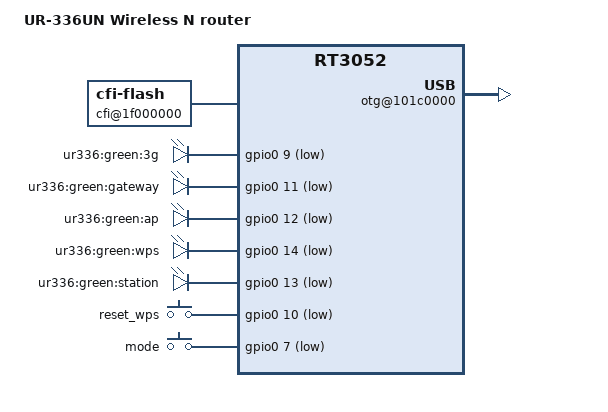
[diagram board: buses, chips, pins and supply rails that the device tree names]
/dts-v1/;

/include/ "rt3050.dtsi"

/ {
	compatible = "UR-336UN", "ralink,rt3052-soc";
	model = "UR-336UN Wireless N router";

	pinctrl {
		state_default: pinctrl0 {
			gpio {
				ralink,group = "spi", "i2c", "jtag", "rgmii", "mdio", "uartf";
				ralink,function = "gpio";
			};
		};
	};

	cfi@1f000000 {
		compatible = "cfi-flash";
		reg = <0x1f000000 0x800000>;

		bank-width = <2>;
		device-width = <2>;
		#address-cells = <1>;
		#size-cells = <1>;
	};

	ethernet@10100000 {
		mtd-mac-address = <&factory 0x4004>;
	};

	esw@10110000 {
		ralink,portmap = <0x2f>;
	};

	gpio-leds {
		compatible = "gpio-leds";
		3g {
			label = "ur336:green:3g";
			gpios = <&gpio0 9 1>;
		};
		gateway {
			label = "ur336:green:gateway";
			gpios = <&gpio0 11 1>;
		};
		ap {
			label = "ur336:green:ap";
			gpios = <&gpio0 12 1>;
		};
		wps {
			label = "ur336:green:wps";
			gpios = <&gpio0 14 1>;
		};
		station {
			label = "ur336:green:station";
			gpios = <&gpio0 13 1>;
		};
	};

	gpio-keys-polled {
		compatible = "gpio-keys-polled";
		#address-cells = <1>;
		#size-cells = <0>;
		poll-interval = <20>;
		reset_wps {
			label = "reset_wps";
			gpios = <&gpio0 10 1>;
			linux,code = <0x198>;
		};
		mode {
			label = "mode";
			gpios = <&gpio0 7 1>;
			linux,code = <0x32>;
		};
	};

	otg@101c0000 {
		status = "okay";
	};
};
